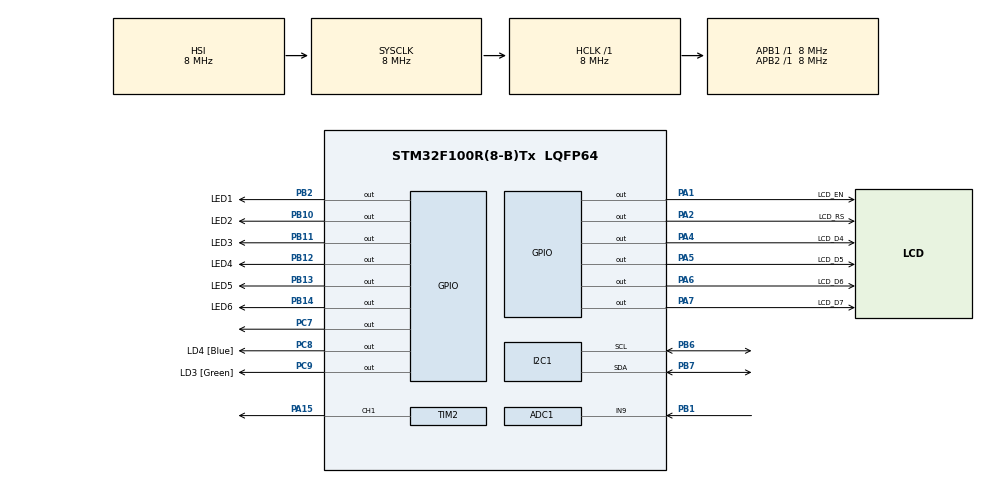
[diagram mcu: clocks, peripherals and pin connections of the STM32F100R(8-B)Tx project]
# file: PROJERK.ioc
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ADC1.Channel-0\#ChannelRegularConversion=ADC_CHANNEL_9
ADC1.ContinuousConvMode=ENABLE
ADC1.NbrOfConversionFlag=1
ADC1.Rank-0\#ChannelRegularConversion=1
ADC1.SamplingTime-0\#ChannelRegularConversion=ADC_SAMPLETIME_1CYCLE_5
ADC1.master=1
Mcu.Family=STM32F1
Mcu.Name=STM32F100R(8-B)Tx
Mcu.Package=LQFP64
NVIC.PriorityGroup=NVIC_PRIORITYGROUP_4
NVIC.TIM2_IRQn=true\:0\:0\:false\:false\:true\:true\:true\:true
PA0-WKUP.Signal=SYS_WKUP
PA1.GPIO_Label=LCD_EN
PA1.Signal=GPIO_Output
PA13.GPIO_Label=TMS_SWDIO
PA13.Mode=Serial_Wire
PA13.Signal=SYS_JTMS-SWDIO
PA14.GPIO_Label=TCK_SWCLK
PA14.Mode=Serial_Wire
PA14.Signal=SYS_JTCK-SWCLK
PA15.Signal=S_TIM2_CH1_ETR
PA2.GPIO_Label=LCD_RS
PA2.Signal=GPIO_Output
PA4.GPIO_Label=LCD_D4
PA4.Signal=GPIO_Output
PA5.GPIO_Label=LCD_D5
PA5.Signal=GPIO_Output
PA6.GPIO_Label=LCD_D6
PA6.Signal=GPIO_Output
PA7.GPIO_Label=LCD_D7
PA7.Signal=GPIO_Output
PB1.Signal=ADCx_IN9
PB10.GPIO_Label=LED2
PB10.Signal=GPIO_Output
PB11.GPIO_Label=LED3
PB11.Signal=GPIO_Output
PB12.GPIO_Label=LED4
PB12.Signal=GPIO_Output
PB13.GPIO_Label=LED5
PB13.Signal=GPIO_Output
PB14.GPIO_Label=LED6
PB14.Signal=GPIO_Output
PB2.GPIO_Label=LED1
PB2.Signal=GPIO_Output
PB6.Mode=I2C
PB6.Signal=I2C1_SCL
PB7.Mode=I2C
PB7.Signal=I2C1_SDA
PC14-OSC32_IN.Signal=RCC_OSC32_IN
PC15-OSC32_OUT.Signal=RCC_OSC32_OUT
PC7.Signal=GPIO_Output
PC8.GPIO_Label=LD4 [Blue]
PC8.Signal=GPIO_Output
PC9.GPIO_Label=LD3 [Green]
PC9.Signal=GPIO_Output
PD0-OSC_IN.Mode=HSE-External-Oscillator
PD0-OSC_IN.Signal=RCC_OSC_IN
PD1-OSC_OUT.Mode=HSE-External-Oscillator
PD1-OSC_OUT.Signal=RCC_OSC_OUT
ProjectManager.HeapSize=0x200
ProjectManager.StackSize=0x400
ProjectManager.TargetToolchain=MDK-ARM V5.32
RCC.AHBFreq_Value=8000000
RCC.APB1Freq_Value=8000000
RCC.APB1TimFreq_Value=8000000
RCC.APB2Freq_Value=8000000
RCC.APB2TimFreq_Value=8000000
RCC.HCLKFreq_Value=8000000
RCC.PLLMUL=RCC_PLL_MUL3
RCC.SYSCLKFreq_VALUE=8000000
SH.ADCx_IN9.0=ADC1_IN9,IN9
SH.S_TIM2_CH1_ETR.0=TIM2_CH1,PWM Generation1 CH1
TIM2.Channel-PWM\ Generation1\ CH1=TIM_CHANNEL_1
TIM2.Period=9999
TIM2.Prescaler=15
VP_TIM2_VS_ClockSourceINT.Mode=Internal
board=STM32VLDISCOVERY

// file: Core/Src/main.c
/* USER CODE BEGIN Header */
/**
  ******************************************************************************
  * @file           : main.c
  * @brief          : Main program body
  ******************************************************************************
  * @attention
  *
  * Copyright (c) 2024 STMicroelectronics.
  * All rights reserved.
  *
  * This software is licensed under terms that can be found in the LICENSE file
  * in the root directory of this software component.
  * If no LICENSE file comes with this software, it is provided AS-IS.
  *
  ******************************************************************************
  */
/* USER CODE END Header */
#include "main.h"

/* USER CODE BEGIN Includes */
#include "main.h"
#include "stdio.h"
#include "liquidcrystal_i2c.h"
char line1[16];
int sayac;

/* USER CODE END Includes */

ADC_HandleTypeDef hadc1;

I2C_HandleTypeDef hi2c1;

TIM_HandleTypeDef htim2;

void SystemClock_Config(void);
static void MX_GPIO_Init(void);
static void MX_ADC1_Init(void);
static void MX_I2C1_Init(void);
static void MX_TIM2_Init(void);

int main(void)
{

  /* USER CODE BEGIN 1 */
	char deger[20];
  /* USER CODE END 1 */

  /* MCU Configuration--------------------------------------------------------*/

  /* Reset of all peripherals, Initializes the Flash interface and the Systick. */
  HAL_Init();

  /* Configure the system clock */
  SystemClock_Config();

  /* Initialize all configured peripherals */
  MX_GPIO_Init();
  MX_ADC1_Init();
  MX_I2C1_Init();
  MX_TIM2_Init();
  /* USER CODE BEGIN 2 */

  HAL_TIM_PWM_Start(&htim2, TIM_CHANNEL_1);
  uint32_t readValue;
  uint32_t PWM;
	HD44780_Init(2);

  /* USER CODE END 2 */

  /* Infinite loop */
  while (1)
  {

    /* USER CODE BEGIN 3 */
		   HAL_ADC_Start(&hadc1);//adc baslatma potansiyometre
		   HAL_ADC_PollForConversion(&hadc1,1000);//conversioni baslatiyor, 1000 potansiyometreye göre ayarli timeout degeri
	     readValue = HAL_ADC_GetValue(&hadc1);//adc deger oku
	     PWM = 250 + readValue/4.1;//motoru düzgün donduren deger
			 sprintf(deger,"ACI:%d",(readValue * 180) / 4095);

	     __HAL_TIM_SET_COMPARE(&htim2,TIM_CHANNEL_1, PWM);//motoru dondurmek için verdigin timer sinyali

				if((readValue * 180) / 4095 <= 0){
	    		   	     HAL_GPIO_WritePin(GPIOB, GPIO_PIN_2, 0);
	    		   	     HAL_GPIO_WritePin(GPIOB, GPIO_PIN_10, 0);
	    		   	     HAL_GPIO_WritePin(GPIOB, GPIO_PIN_11, 0);
	    		   	     HAL_GPIO_WritePin(GPIOB, GPIO_PIN_12, 0);
	    		   	     HAL_GPIO_WritePin(GPIOB, GPIO_PIN_13, 0);
									 HAL_GPIO_WritePin(GPIOB, GPIO_PIN_14, 0);
									HAL_GPIO_WritePin(GPIOC, GPIO_PIN_7, 0);
									 HD44780_Clear();
										HD44780_SetCursor(0,0);//satir
										HD44780_PrintStr(deger);//ekrana yazdirma
										HD44780_SetCursor(0,1);
										HD44780_PrintStr("BASLANGIC");

	    		   	 }
	    		   	 else if((readValue * 180) / 4095 > 30 && (readValue * 180) / 4095 <= 60 ){
	    		   	     HAL_GPIO_WritePin(GPIOB, GPIO_PIN_2, 1);
	    		   	     HAL_GPIO_WritePin(GPIOB, GPIO_PIN_10, 0);
	    		   	     HAL_GPIO_WritePin(GPIOB, GPIO_PIN_11, 0);
	    		   	     HAL_GPIO_WritePin(GPIOB, GPIO_PIN_12, 0);
	    		   	     HAL_GPIO_WritePin(GPIOB, GPIO_PIN_13, 0);
								 HAL_GPIO_WritePin(GPIOB, GPIO_PIN_14, 0);
								 HAL_GPIO_WritePin(GPIOC, GPIO_PIN_7, 0);
									HD44780_Clear();
										HD44780_SetCursor(0,0);
										HD44780_PrintStr(deger);
										HD44780_SetCursor(0,1);
										HD44780_PrintStr("ASAMA 1");

	    		   	 }
	    		   	 else if((readValue * 180) / 4095 > 60 && (readValue * 180) / 4095 <= 90){
	    		   	     HAL_GPIO_WritePin(GPIOB, GPIO_PIN_2, 0);
	    		   	     HAL_GPIO_WritePin(GPIOB, GPIO_PIN_10, 1);
	    		   	     HAL_GPIO_WritePin(GPIOB, GPIO_PIN_11, 0);
	    		   	     HAL_GPIO_WritePin(GPIOB, GPIO_PIN_12, 0);
	    		   	     HAL_GPIO_WritePin(GPIOB, GPIO_PIN_13, 0);
								 HAL_GPIO_WritePin(GPIOB, GPIO_PIN_14, 0);
								 HAL_GPIO_WritePin(GPIOC, GPIO_PIN_7, 0);
								 HD44780_Clear();
										HD44780_SetCursor(0,0);
										HD44780_PrintStr(deger);
										HD44780_SetCursor(0,1);
										HD44780_PrintStr("ASAMA 2");
	    		   	 }
	    		   	 else if((readValue * 180) / 4095 > 90 && (readValue * 180) / 4095 <= 120){
	    		   	     HAL_GPIO_WritePin(GPIOB, GPIO_PIN_2, 0);
	    		   	     HAL_GPIO_WritePin(GPIOB, GPIO_PIN_10, 0);
	    		   	     HAL_GPIO_WritePin(GPIOB, GPIO_PIN_11, 1);
	    		   	     HAL_GPIO_WritePin(GPIOB, GPIO_PIN_12, 0);
	    		   	     HAL_GPIO_WritePin(GPIOB, GPIO_PIN_13, 0);
								 HAL_GPIO_WritePin(GPIOB, GPIO_PIN_14, 0);
								 HAL_GPIO_WritePin(GPIOC, GPIO_PIN_7, 0);
								 HD44780_Clear();
										HD44780_SetCursor(0,0);
										HD44780_PrintStr(deger);
										HD44780_SetCursor(0,1);
										HD44780_PrintStr("ASAMA 3");
	    		   	 }
							 else if((readValue * 180) / 4095 > 120 && (readValue * 180) / 4095 <= 150){
	    		   	     HAL_GPIO_WritePin(GPIOB, GPIO_PIN_2, 0);
	    		   	     HAL_GPIO_WritePin(GPIOB, GPIO_PIN_10, 0);
	    		   	     HAL_GPIO_WritePin(GPIOB, GPIO_PIN_11, 0);
	    		   	     HAL_GPIO_WritePin(GPIOB, GPIO_PIN_12, 1);
	    		   	     HAL_GPIO_WritePin(GPIOB, GPIO_PIN_13, 0);
								 HAL_GPIO_WritePin(GPIOB, GPIO_PIN_14, 0);
								 HAL_GPIO_WritePin(GPIOC, GPIO_PIN_7, 0);
								 HD44780_Clear();
										HD44780_SetCursor(0,0);
										HD44780_PrintStr(deger);
										HD44780_SetCursor(0,1);
										HD44780_PrintStr("ASAMA 4");
	    		   	 }
							  else if((readValue * 180) / 4095 > 150 && (readValue * 180) / 4095 < 180){
	    		   	     HAL_GPIO_WritePin(GPIOB, GPIO_PIN_2, 0);
	    		   	     HAL_GPIO_WritePin(GPIOB, GPIO_PIN_10, 0);
	    		   	     HAL_GPIO_WritePin(GPIOB, GPIO_PIN_11, 0);
	    		   	     HAL_GPIO_WritePin(GPIOB, GPIO_PIN_12, 0);
	    		   	     HAL_GPIO_WritePin(GPIOB, GPIO_PIN_13, 1);
								 HAL_GPIO_WritePin(GPIOB, GPIO_PIN_14, 0);
									HAL_GPIO_WritePin(GPIOC, GPIO_PIN_7, 0);
									HD44780_Clear();

										HD44780_SetCursor(0,0);
										HD44780_PrintStr(deger);
										HD44780_SetCursor(0,1);
										HD44780_PrintStr("ASAMA 5");
	    		   	 }
	    		   	 else if((readValue * 180) / 4095 >= 180){
										HD44780_Clear();
										HD44780_SetCursor(0,0);
										HD44780_PrintStr(deger);
										HAL_GPIO_WritePin(GPIOC, GPIO_PIN_7, 1);
	    		   	     HAL_GPIO_WritePin(GPIOB, GPIO_PIN_2, 1);
	    		   	     HAL_GPIO_WritePin(GPIOB, GPIO_PIN_10, 1);
	    		   	     HAL_GPIO_WritePin(GPIOB, GPIO_PIN_11, 1);
	    		   	     HAL_GPIO_WritePin(GPIOB, GPIO_PIN_12, 1);
	    		   	     HAL_GPIO_WritePin(GPIOB, GPIO_PIN_13, 1);
								 HAL_GPIO_WritePin(GPIOB, GPIO_PIN_14, 1);
								   HAL_Delay(100);
										HAL_GPIO_WritePin(GPIOB, GPIO_PIN_2, 0);
	    		   	     HAL_GPIO_WritePin(GPIOB, GPIO_PIN_10, 0);
	    		   	     HAL_GPIO_WritePin(GPIOB, GPIO_PIN_11, 0);
	    		   	     HAL_GPIO_WritePin(GPIOB, GPIO_PIN_12, 0);
	    		   	     HAL_GPIO_WritePin(GPIOB, GPIO_PIN_13, 0);
								 HAL_GPIO_WritePin(GPIOB, GPIO_PIN_14, 0);
										HD44780_SetCursor(0,1);
										HD44780_PrintStr("OVERLOADDDDDDD");
	    		   	 }

	     HAL_Delay(10);
	     /* USER CODE END WHILE */

	    	  		   	  	HAL_Delay(10);

  }
  /* USER CODE END 3 */
}

void SystemClock_Config(void)
{
  RCC_OscInitTypeDef RCC_OscInitStruct = {0};
  RCC_ClkInitTypeDef RCC_ClkInitStruct = {0};
  RCC_PeriphCLKInitTypeDef PeriphClkInit = {0};

  /** Initializes the RCC Oscillators according to the specified parameters
  * in the RCC_OscInitTypeDef structure.
  */
  RCC_OscInitStruct.OscillatorType = RCC_OSCILLATORTYPE_HSI;
  RCC_OscInitStruct.HSIState = RCC_HSI_ON;
  RCC_OscInitStruct.HSICalibrationValue = RCC_HSICALIBRATION_DEFAULT;
  RCC_OscInitStruct.PLL.PLLState = RCC_PLL_NONE;
  if (HAL_RCC_OscConfig(&RCC_OscInitStruct) != HAL_OK)
  {
    Error_Handler();
  }

  /** Initializes the CPU, AHB and APB buses clocks
  */
  RCC_ClkInitStruct.ClockType = RCC_CLOCKTYPE_HCLK|RCC_CLOCKTYPE_SYSCLK
                              |RCC_CLOCKTYPE_PCLK1|RCC_CLOCKTYPE_PCLK2;
  RCC_ClkInitStruct.SYSCLKSource = RCC_SYSCLKSOURCE_HSI;
  RCC_ClkInitStruct.AHBCLKDivider = RCC_SYSCLK_DIV1;
  RCC_ClkInitStruct.APB1CLKDivider = RCC_HCLK_DIV1;
  RCC_ClkInitStruct.APB2CLKDivider = RCC_HCLK_DIV1;

  if (HAL_RCC_ClockConfig(&RCC_ClkInitStruct, FLASH_LATENCY_0) != HAL_OK)
  {
    Error_Handler();
  }
  PeriphClkInit.PeriphClockSelection = RCC_PERIPHCLK_ADC;
  PeriphClkInit.AdcClockSelection = RCC_ADCPCLK2_DIV2;
  if (HAL_RCCEx_PeriphCLKConfig(&PeriphClkInit) != HAL_OK)
  {
    Error_Handler();
  }
}

static void MX_ADC1_Init(void)
{

  ADC_ChannelConfTypeDef sConfig = {0};

  /** Common config
  */
  hadc1.Instance = ADC1;
  hadc1.Init.ScanConvMode = ADC_SCAN_DISABLE;
  hadc1.Init.ContinuousConvMode = ENABLE;
  hadc1.Init.DiscontinuousConvMode = DISABLE;
  hadc1.Init.ExternalTrigConv = ADC_SOFTWARE_START;
  hadc1.Init.DataAlign = ADC_DATAALIGN_RIGHT;
  hadc1.Init.NbrOfConversion = 1;
  if (HAL_ADC_Init(&hadc1) != HAL_OK)
  {
    Error_Handler();
  }

  /** Configure Regular Channel
  */
  sConfig.Channel = ADC_CHANNEL_9;
  sConfig.Rank = ADC_REGULAR_RANK_1;
  sConfig.SamplingTime = ADC_SAMPLETIME_1CYCLE_5;
  if (HAL_ADC_ConfigChannel(&hadc1, &sConfig) != HAL_OK)
  {
    Error_Handler();
  }

}

static void MX_I2C1_Init(void)
{

  hi2c1.Instance = I2C1;
  hi2c1.Init.ClockSpeed = 100000;
  hi2c1.Init.DutyCycle = I2C_DUTYCYCLE_2;
  hi2c1.Init.OwnAddress1 = 0;
  hi2c1.Init.AddressingMode = I2C_ADDRESSINGMODE_7BIT;
  hi2c1.Init.DualAddressMode = I2C_DUALADDRESS_DISABLE;
  hi2c1.Init.OwnAddress2 = 0;
  hi2c1.Init.GeneralCallMode = I2C_GENERALCALL_DISABLE;
  hi2c1.Init.NoStretchMode = I2C_NOSTRETCH_DISABLE;
  if (HAL_I2C_Init(&hi2c1) != HAL_OK)
  {
    Error_Handler();
  }

}

static void MX_TIM2_Init(void)
{

  TIM_ClockConfigTypeDef sClockSourceConfig = {0};
  TIM_MasterConfigTypeDef sMasterConfig = {0};
  TIM_OC_InitTypeDef sConfigOC = {0};

  htim2.Instance = TIM2;
  htim2.Init.Prescaler = 15;
  htim2.Init.CounterMode = TIM_COUNTERMODE_UP;
  htim2.Init.Period = 9999;
  htim2.Init.ClockDivision = TIM_CLOCKDIVISION_DIV1;
  htim2.Init.AutoReloadPreload = TIM_AUTORELOAD_PRELOAD_DISABLE;
  if (HAL_TIM_Base_Init(&htim2) != HAL_OK)
  {
    Error_Handler();
  }
  sClockSourceConfig.ClockSource = TIM_CLOCKSOURCE_INTERNAL;
  if (HAL_TIM_ConfigClockSource(&htim2, &sClockSourceConfig) != HAL_OK)
  {
    Error_Handler();
  }
  if (HAL_TIM_PWM_Init(&htim2) != HAL_OK)
  {
    Error_Handler();
  }
  sMasterConfig.MasterOutputTrigger = TIM_TRGO_RESET;
  sMasterConfig.MasterSlaveMode = TIM_MASTERSLAVEMODE_DISABLE;
  if (HAL_TIMEx_MasterConfigSynchronization(&htim2, &sMasterConfig) != HAL_OK)
  {
    Error_Handler();
  }
  sConfigOC.OCMode = TIM_OCMODE_PWM1;
  sConfigOC.Pulse = 0;
  sConfigOC.OCPolarity = TIM_OCPOLARITY_HIGH;
  sConfigOC.OCFastMode = TIM_OCFAST_DISABLE;
  if (HAL_TIM_PWM_ConfigChannel(&htim2, &sConfigOC, TIM_CHANNEL_1) != HAL_OK)
  {
    Error_Handler();
  }
  HAL_TIM_MspPostInit(&htim2);

}

static void MX_GPIO_Init(void)
{
  GPIO_InitTypeDef GPIO_InitStruct = {0};

  /* GPIO Ports Clock Enable */
  __HAL_RCC_GPIOC_CLK_ENABLE();
  __HAL_RCC_GPIOD_CLK_ENABLE();
  __HAL_RCC_GPIOA_CLK_ENABLE();
  __HAL_RCC_GPIOB_CLK_ENABLE();

  /*Configure GPIO pin Output Level */
  HAL_GPIO_WritePin(GPIOA, LCD_EN_Pin|LCD_RS_Pin|LCD_D4_Pin|LCD_D5_Pin
                          |LCD_D6_Pin|LCD_D7_Pin, GPIO_PIN_RESET);

  /*Configure GPIO pin Output Level */
  HAL_GPIO_WritePin(GPIOB, LED1_Pin|LED2_Pin|LED3_Pin|LED4_Pin
                          |LED5_Pin|LED6_Pin, GPIO_PIN_RESET);

  /*Configure GPIO pin Output Level */
  HAL_GPIO_WritePin(GPIOC, GPIO_PIN_7|LD4_Pin|LD3_Pin, GPIO_PIN_RESET);

  /*Configure GPIO pins : LCD_EN_Pin LCD_RS_Pin LCD_D4_Pin LCD_D5_Pin
                           LCD_D6_Pin LCD_D7_Pin */
  GPIO_InitStruct.Pin = LCD_EN_Pin|LCD_RS_Pin|LCD_D4_Pin|LCD_D5_Pin
                          |LCD_D6_Pin|LCD_D7_Pin;
  GPIO_InitStruct.Mode = GPIO_MODE_OUTPUT_PP;
  GPIO_InitStruct.Pull = GPIO_NOPULL;
  GPIO_InitStruct.Speed = GPIO_SPEED_FREQ_LOW;
  HAL_GPIO_Init(GPIOA, &GPIO_InitStruct);

  /*Configure GPIO pins : LED1_Pin LED2_Pin LED3_Pin LED4_Pin
                           LED5_Pin LED6_Pin */
  GPIO_InitStruct.Pin = LED1_Pin|LED2_Pin|LED3_Pin|LED4_Pin
                          |LED5_Pin|LED6_Pin;
  GPIO_InitStruct.Mode = GPIO_MODE_OUTPUT_PP;
  GPIO_InitStruct.Pull = GPIO_NOPULL;
  GPIO_InitStruct.Speed = GPIO_SPEED_FREQ_LOW;
  HAL_GPIO_Init(GPIOB, &GPIO_InitStruct);

  /*Configure GPIO pins : PC7 LD4_Pin LD3_Pin */
  GPIO_InitStruct.Pin = GPIO_PIN_7|LD4_Pin|LD3_Pin;
  GPIO_InitStruct.Mode = GPIO_MODE_OUTPUT_PP;
  GPIO_InitStruct.Pull = GPIO_NOPULL;
  GPIO_InitStruct.Speed = GPIO_SPEED_FREQ_LOW;
  HAL_GPIO_Init(GPIOC, &GPIO_InitStruct);

}

void Error_Handler(void)
{
  __disable_irq();
  while (1)
  {
  }
}
